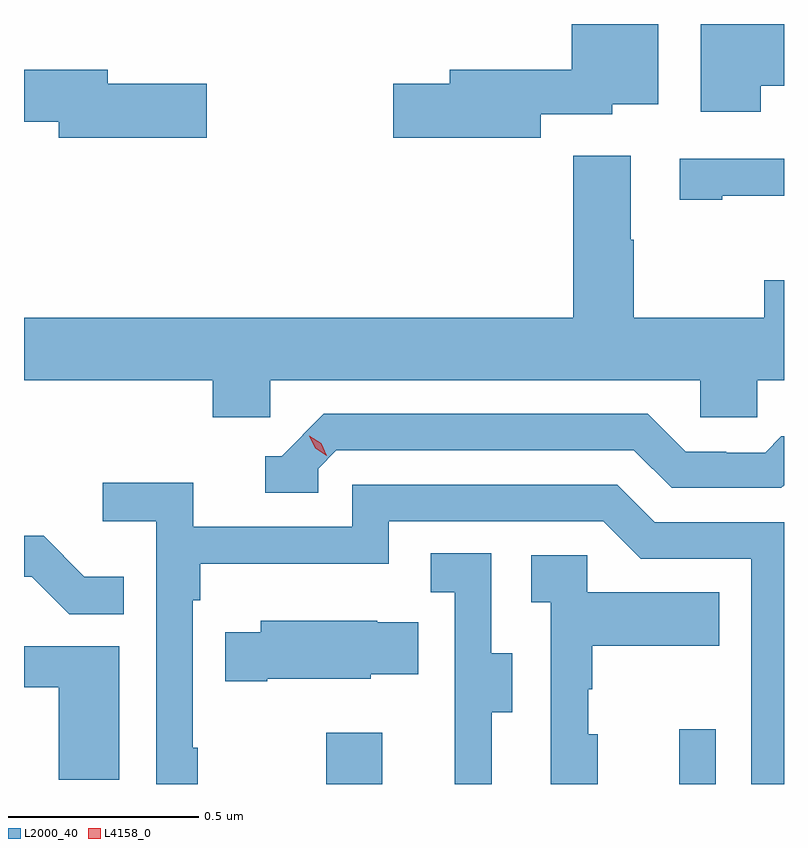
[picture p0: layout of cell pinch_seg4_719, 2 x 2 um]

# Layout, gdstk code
import gdstk
lib = gdstk.Library(unit=1e-6, precision=1e-09)
def R(c, l, rs):  # rectangles x0, y0, x1, y1
    for r in rs: c.add(gdstk.rectangle(r[:2], r[2:], *l))
def P(c, l, *ps):  # polygons
    for p in ps: c.add(gdstk.Polygon(p, *l))
L2000_40 = (2000, 40)
L4158_0 = (4158, 0)

pinch_seg4_719 = lib.new_cell('pinch_seg4_719')
R(pinch_seg4_719, L2000_40, [(891.1,830.389,891.247,830.524), (892.028,830.389,892.125,830.533)])
P(pinch_seg4_719, L2000_40, [(891.664,832.152),(891.852,832.152),(891.852,832.178),(891.973,832.178),(891.973,832.389),(891.746,832.389),(891.746,832.268),(891.425,832.268),(891.425,832.232),(891.276,832.232),(891.276,832.09),(891.664,832.09)],
  [(892.243,832.226),(892.304,832.226),(892.304,832.389),(892.085,832.389),(892.085,832.158),(892.243,832.158)],
  [(890.785,832.232),(890.524,832.232),(890.524,832.268),(890.304,832.268),(890.304,832.132),(890.396,832.132),(890.396,832.09),(890.785,832.09)],
  [(890.952,831.452),(892.083,831.452),(892.083,831.354),(892.233,831.354),(892.233,831.452),(892.304,831.452),(892.304,831.715),(892.252,831.715),(892.252,831.616),(891.909,831.616),(891.909,831.821),(891.901,831.821),(891.901,832.042),(891.749,832.042),(891.749,831.616),(890.304,831.616),(890.304,831.452),(890.801,831.452),(890.801,831.354),(890.952,831.354)],
  [(892.141,831.937),(892.304,831.937),(892.304,832.035),(892.029,832.035),(892.029,831.927),(892.141,831.927)],
  [(891.078,831.219),(891.126,831.267),(891.909,831.267),(892.008,831.168),(892.297,831.168),(892.304,831.175),(892.304,831.304),(892.297,831.304),(892.255,831.261),(892.152,831.261),(892.152,831.264),(892.045,831.264),(891.946,831.363),(891.093,831.363),(890.982,831.252),(890.939,831.252),(890.939,831.156),(891.078,831.156)],
  [(890.761,830.485),(890.748,830.485),(890.748,830.873),(890.768,830.873),(890.768,830.969),(891.264,830.969),(891.264,831.081),(891.828,831.081),(891.927,830.982),(892.218,830.982),(892.218,830.389),(892.304,830.389),(892.304,831.078),(891.964,831.078),(891.865,831.177),(891.168,831.177),(891.168,831.066),(890.75,831.066),(890.75,831.182),(890.511,831.182),(890.511,831.08),(890.652,831.08),(890.652,830.389),(890.761,830.389)],
  [(890.567,830.935),(890.463,830.935),(890.356,831.042),(890.304,831.042),(890.304,830.934),(890.325,830.934),(890.423,830.836),(890.567,830.836)],
  [(891.535,830.578),(891.589,830.578),(891.589,830.733),(891.534,830.733),(891.534,830.996),(891.375,830.996),(891.375,830.893),(891.438,830.893),(891.438,830.589),(891.437,830.589),(891.437,830.389),(891.535,830.389)],
  [(891.814,830.52),(891.789,830.52),(891.789,830.639),(891.799,830.639),(891.799,830.753),(892.133,830.753),(892.133,830.893),(891.786,830.893),(891.786,830.991),(891.639,830.991),(891.639,830.867),(891.69,830.867),(891.69,830.389),(891.814,830.389)],
  [(890.944,830.666),(891.216,830.666),(891.216,830.678),(891.341,830.678),(891.341,830.815),(891.233,830.815),(891.233,830.818),(890.927,830.818),(890.927,830.788),(890.833,830.788),(890.833,830.659),(890.944,830.659)],
  [(890.554,830.751),(890.304,830.751),(890.304,830.643),(890.396,830.643),(890.396,830.4),(890.554,830.4)])
P(pinch_seg4_719, L4158_0, [(891.101,831.253),(891.071,831.272),(891.055,831.305),(891.055,831.305),(891.055,831.305),(891.086,831.286),(891.101,831.253),(891.101,831.253)])

lib.write_gds('pinch_seg4_719.gds')
